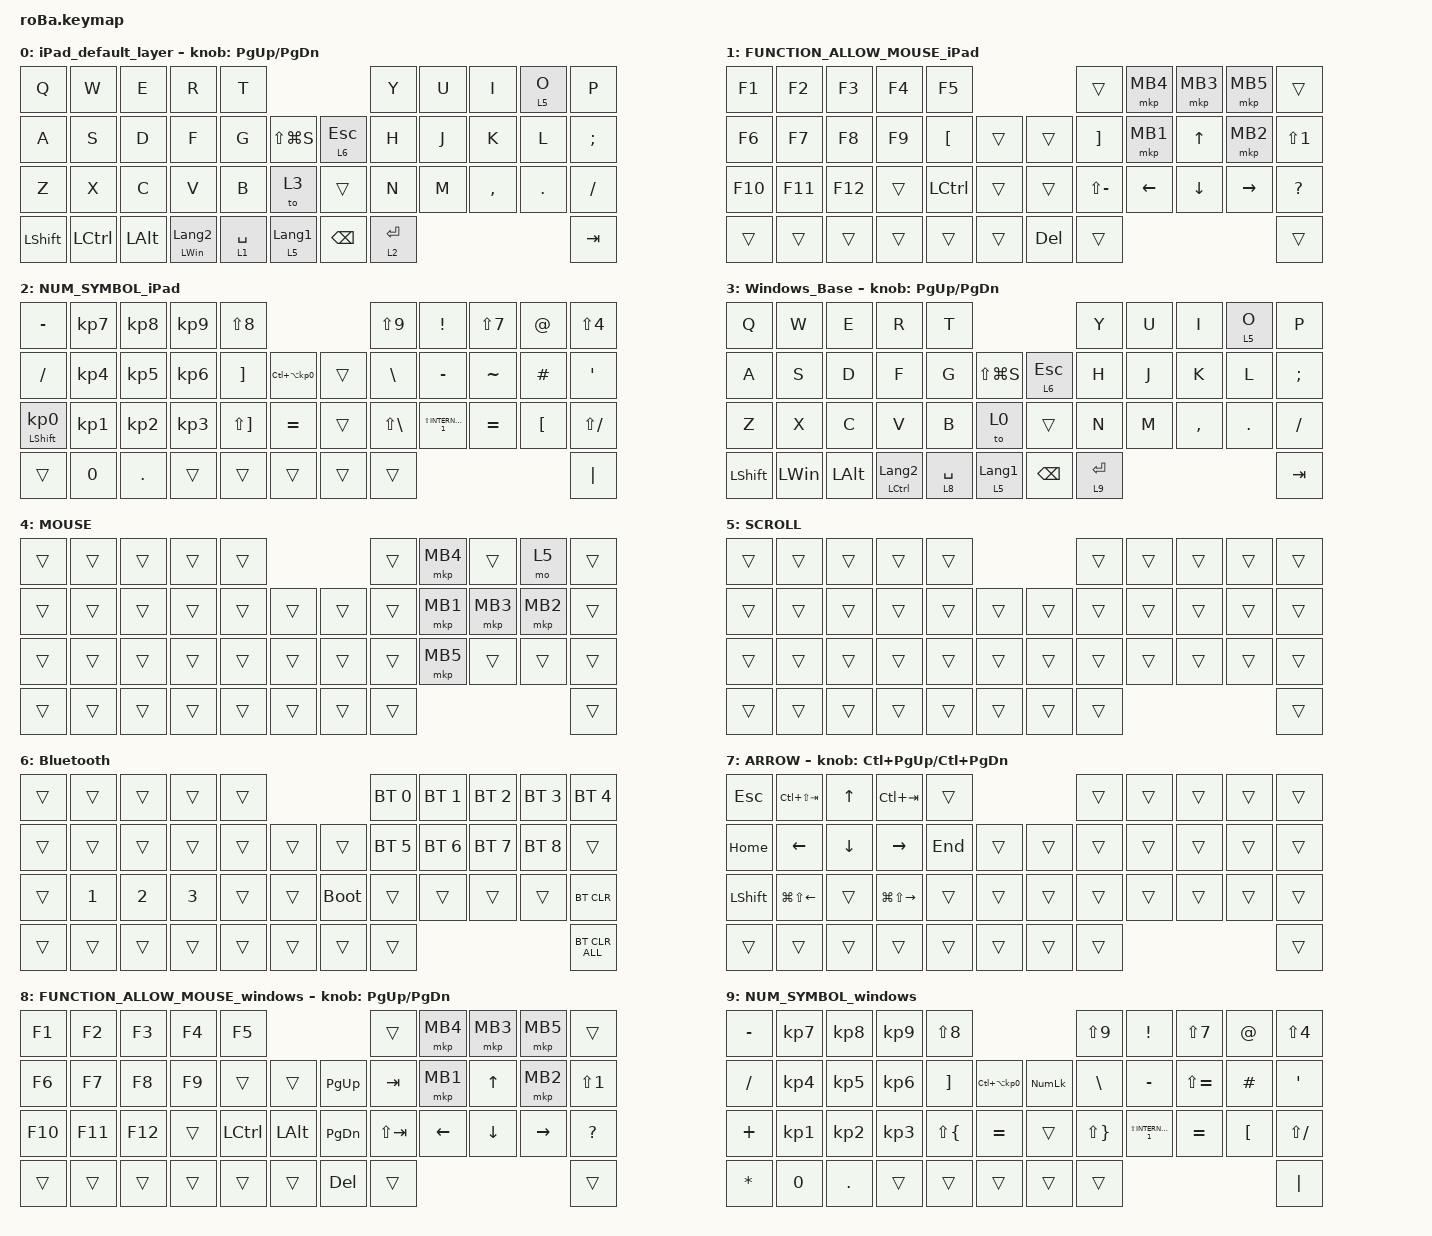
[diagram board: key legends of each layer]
#include <behaviors.dtsi>
#include <dt-bindings/zmk/bt.h>
#include <dt-bindings/zmk/keys.h>
#include <dt-bindings/zmk/pointing.h>

&mt {
    flavor = "balanced";
    quick-tap-ms = <0>;
};

&trackball {
    automouse-layer = <4>;
    scroll-layers = <5>;

    // arrows {
    //     layers = <3>;
    //     bindings =
    //         <&kp RIGHT_ARROW>,
    //         <&kp LEFT_ARROW>,
    //         <&kp UP_ARROW>,
    //         <&kp DOWN_ARROW>;
    //     tick = <10>;
    //     wait-ms = <5>;
    //     tap-ms = <5>;
    // };
};

/ {
    combos {
        compatible = "zmk,combos";

        tab {
            bindings = <&kp TAB>;
            key-positions = <11 12>;
        };

        shift_tab {
            bindings = <&kp LS(TAB)>;
            key-positions = <12 13>;
        };

        muhennkann {
            bindings = <&to_layer_0 INT_MUHENKAN>;
            key-positions = <11 10>;
        };

        double_quotation {
            bindings = <&kp DOUBLE_QUOTES>;
            key-positions = <20 21>;
        };

        eq {
            bindings = <&kp EQUAL>;
            key-positions = <24 25>;
        };
    };

    macros {
        to_layer_0: to_layer_0 {
            compatible = "zmk,behavior-macro-one-param";
            #binding-cells = <1>;
            bindings = <&to 0 &macro_param_1to1 &kp MACRO_PLACEHOLDER>;
            label = "TO_LAYER_0";
        };
    };

    behaviors {
        lt_to_layer_0: lt_to_layer_0 {
            compatible = "zmk,behavior-hold-tap";
            label = "LAYER_TAP_TO_0";
            bindings = <&mo>, <&to_layer_0>;

            #binding-cells = <2>;
            tapping-term-ms = <200>;
        };
    };

    keymap {
        compatible = "zmk,keymap";

        iPad_default_layer {
            bindings = <
&kp Q           &kp W             &kp E         &kp R                    &kp T                                             &kp Y        &kp U  &kp I      &lt 5 O  &kp P
&kp A           &kp S             &kp D         &kp F                    &kp G        &kp LS(LG(S))         &lt 6 ESCAPE   &kp H        &kp J  &kp K      &kp L    &kp SEMICOLON
&kp Z           &kp X             &kp C         &kp V                    &kp B        &to 3                 &trans         &kp N        &kp M  &kp COMMA  &kp DOT  &kp SLASH
&kp LEFT_SHIFT  &kp LEFT_CONTROL  &kp LEFT_ALT  &mt LEFT_WIN LANGUAGE_2  &lt 1 SPACE  &lt 5 LANGUAGE_1      &kp BACKSPACE  &lt 2 ENTER                             &kp TAB
            >;

            sensor-bindings = <&inc_dec_kp PAGE_UP PAGE_DOWN>;
        };

        FUNCTION_ALLOW_MOUSE_iPad {
            bindings = <
&kp F1   &kp F2   &kp F3   &kp F4  &kp F5                                 &trans             &mkp MB4  &mkp MB3  &mkp MB5   &trans
&kp F6   &kp F7   &kp F8   &kp F9  &kp LEFT_BRACKET  &trans      &trans   &kp RIGHT_BRACKET  &mkp MB1  &kp UP    &mkp MB2   &kp LS(NUMBER_1)
&kp F10  &kp F11  &kp F12  &trans  &kp LCTRL         &trans      &trans   &kp LS(MINUS)      &kp LEFT  &kp DOWN  &kp RIGHT  &kp QUESTION
&trans   &trans   &trans   &trans  &trans            &trans      &kp DEL  &trans                                            &trans
            >;
        };

        NUM_SYMBOL_iPad {
            bindings = <
&kp MINUS                   &kp KP_NUMBER_7  &kp KP_NUMBER_8  &kp KP_NUMBER_9  &kp LS(N8)                                                  &kp LS(N9)         &kp EXCLAMATION          &kp LS(N7)  &kp AT_SIGN  &kp LS(NUMBER_4)
&kp SLASH                   &kp KP_NUMBER_4  &kp KP_NUMBER_5  &kp KP_NUMBER_6  &kp RIGHT_BRACKET      &kp LC(LA(KP_NUMBER_0))      &trans  &kp BACKSLASH      &kp MINUS                &kp TILDE   &kp HASH     &kp SINGLE_QUOTE
&mt LEFT_SHIFT KP_NUMBER_0  &kp KP_NUMBER_1  &kp KP_NUMBER_2  &kp KP_NUMBER_3  &kp LS(RIGHT_BRACKET)  &kp EQUAL                    &trans  &kp LS(BACKSLASH)  &kp LS(INTERNATIONAL_1)  &kp EQUAL   &kp LBKT     &kp LS(SLASH)
&trans                      &kp N0           &kp PERIOD       &trans           &trans                 &trans                       &trans  &trans                                                               &kp PIPE
            >;
        };

        Windows_Base {
            bindings = <
&kp Q           &kp W         &kp E         &kp R                 &kp T                                             &kp Y        &kp U  &kp I      &lt 5 O  &kp P
&kp A           &kp S         &kp D         &kp F                 &kp G        &kp LS(LG(S))         &lt 6 ESCAPE   &kp H        &kp J  &kp K      &kp L    &kp SEMICOLON
&kp Z           &kp X         &kp C         &kp V                 &kp B        &to 0                 &trans         &kp N        &kp M  &kp COMMA  &kp DOT  &kp SLASH
&kp LEFT_SHIFT  &kp LEFT_WIN  &kp LEFT_ALT  &mt LCTRL LANGUAGE_2  &lt 8 SPACE  &lt 5 LANGUAGE_1      &kp BACKSPACE  &lt 9 ENTER                             &kp TAB
            >;

            sensor-bindings = <&inc_dec_kp PG_UP PAGE_DOWN>;
        };

        MOUSE {
            bindings = <
&trans  &trans  &trans  &trans  &trans                      &trans  &mkp MB4  &trans    &mo 5     &trans
&trans  &trans  &trans  &trans  &trans  &trans      &trans  &trans  &mkp MB1  &mkp MB3  &mkp MB2  &trans
&trans  &trans  &trans  &trans  &trans  &trans      &trans  &trans  &mkp MB5  &trans    &trans    &trans
&trans  &trans  &trans  &trans  &trans  &trans      &trans  &trans                                &trans
            >;
        };

        SCROLL {
            bindings = <
&trans  &trans  &trans  &trans  &trans                      &trans  &trans  &trans  &trans  &trans
&trans  &trans  &trans  &trans  &trans  &trans      &trans  &trans  &trans  &trans  &trans  &trans
&trans  &trans  &trans  &trans  &trans  &trans      &trans  &trans  &trans  &trans  &trans  &trans
&trans  &trans  &trans  &trans  &trans  &trans      &trans  &trans                          &trans
            >;
        };

        Bluetooth {
            bindings = <
&trans  &trans        &trans        &trans        &trans                           &bt BT_SEL 0  &bt BT_SEL 1  &bt BT_SEL 2  &bt BT_SEL 3  &bt BT_SEL 4
&trans  &trans        &trans        &trans        &trans  &trans      &trans       &bt BT_SEL 5  &bt BT_SEL 6  &bt BT_SEL 7  &bt BT_SEL 8  &trans
&trans  &kp NUMBER_1  &kp NUMBER_2  &kp NUMBER_3  &trans  &trans      &bootloader  &trans        &trans        &trans        &trans        &bt BT_CLR
&trans  &trans        &trans        &trans        &trans  &trans      &trans       &trans                                                  &bt BT_CLR_ALL
            >;
        };

        ARROW {
            bindings = <
&kp ESCAPE      &kp LC(LS(TAB))         &kp UP_ARROW    &kp LC(TAB)              &trans                       &trans  &trans  &trans  &trans  &trans
&kp HOME        &kp LEFT_ARROW          &kp DOWN_ARROW  &kp RIGHT_ARROW          &kp END  &trans      &trans  &trans  &trans  &trans  &trans  &trans
&kp LEFT_SHIFT  &kp LG(LS(LEFT_ARROW))  &trans          &kp LG(LS(RIGHT_ARROW))  &trans   &trans      &trans  &trans  &trans  &trans  &trans  &trans
&trans          &trans                  &trans          &trans                   &trans   &trans      &trans  &trans                          &trans
            >;

            sensor-bindings = <&inc_dec_kp LC(PAGE_UP) LC(PAGE_DOWN)>;
        };

        FUNCTION_ALLOW_MOUSE_windows {
            bindings = <
&kp F1   &kp F2   &kp F3   &kp F4  &kp F5                                      &trans       &mkp MB4  &mkp MB3  &mkp MB5   &trans
&kp F6   &kp F7   &kp F8   &kp F9  &trans     &trans            &kp PAGE_UP    &kp TAB      &mkp MB1  &kp UP    &mkp MB2   &kp LS(NUMBER_1)
&kp F10  &kp F11  &kp F12  &trans  &kp LCTRL  &kp LEFT_ALT      &kp PAGE_DOWN  &kp LS(TAB)  &kp LEFT  &kp DOWN  &kp RIGHT  &kp QUESTION
&trans   &trans   &trans   &trans  &trans     &trans            &kp DEL        &trans                                      &trans
            >;

            sensor-bindings = <&inc_dec_kp PAGE_UP PAGE_DOWN>;
        };

        NUM_SYMBOL_windows {
            bindings = <
&kp MINUS  &kp KP_NUMBER_7  &kp KP_NUMBER_8  &kp KP_NUMBER_9  &kp LS(N8)                                                       &kp LS(N9)           &kp EXCLAMATION          &kp LS(N7)     &kp AT_SIGN  &kp LS(NUMBER_4)
&kp SLASH  &kp KP_NUMBER_4  &kp KP_NUMBER_5  &kp KP_NUMBER_6  &kp RIGHT_BRACKET   &kp LC(LA(KP_NUMBER_0))      &kp KP_NUMLOCK  &kp BACKSLASH        &kp MINUS                &kp LS(EQUAL)  &kp HASH     &kp SINGLE_QUOTE
&kp PLUS   &kp KP_NUMBER_1  &kp KP_NUMBER_2  &kp KP_NUMBER_3  &kp LS(LEFT_BRACE)  &kp EQUAL                    &trans          &kp LS(RIGHT_BRACE)  &kp LS(INTERNATIONAL_1)  &kp EQUAL      &kp LBKT     &kp LS(SLASH)
&kp ASTRK  &kp N0           &kp PERIOD       &trans           &trans              &trans                       &trans          &trans                                                                    &kp PIPE
            >;
        };
    };
};
